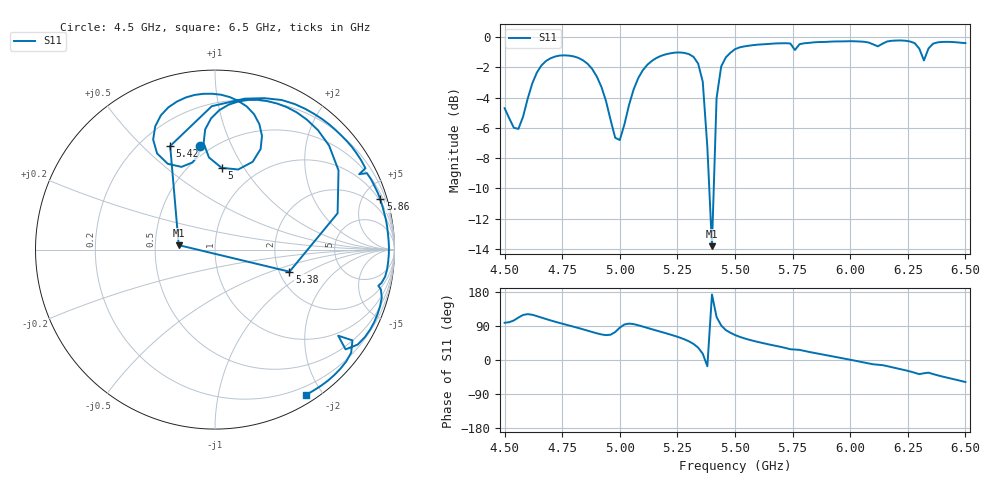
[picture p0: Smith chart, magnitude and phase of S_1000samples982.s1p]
! TOUCHSTONE file generated by CST MICROWAVE STUDIO
! Date and time: Sun Oct 30 00:02:54 2022
! Project name: L.cst
! Parameters = {Di=1.27; Epsilon_r=1.56; InnerDiameter=1.27; Length=2; Lf=10; Lg=60; OuterConductorThickness=0.2921; OuterDiameter=3.6; Wf=3; Wp=41.2; de=1.5; df=6.8; g=0.8; gx=0.687807; gy=4.00703; h=2.34; hf=1.524; px=14.5671; py=14.4756; w=9.7; wx=13.8793; wy=10.4686}
! Header version: 2018
! Port assignment regex: !\s*Touchstone port\s*([0-9]+)\s*=\s*(CST MWS port|CST DS port)\s*([0-9]+|Zmin|Zmax)\s*\(\"(.*)\"\)(\s*mode\s*([0-9]+))?.*
! Touchstone port assignment:
! Touchstone port 1 = CST MWS port 1 ("")
# GHz S DB R 50
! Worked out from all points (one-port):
!   101 points, 4.5 GHz to 6.5 GHz, reference 50 ohm
!   lowest |S11| = -13.8 dB at 5.4 GHz (marker M1), VSWR 1.51, Z = 33.1 + j1.72 ohm
!   |S11| at or under -10 dB: 5.388331 GHz to 5.407804 GHz (19.47 MHz wide, 0.361 % of centre)
!   S11 on the Smith chart (normalised r, x): 4.5 GHz: 0.44, +0.77; 5 GHz: 0.70, +0.80; 5.38 GHz: 2.27, -0.69; 5.42 GHz: 0.32, +0.61; 5.86 GHz: 0.86, +6.63; 6.5 GHz: 0.10, -1.80
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4.5  -4.70 98.2
4.56  -6.07 112.1
4.62  -3.07 119.4
4.68  -1.57 108.1
4.76  -1.21 94.3
4.84  -1.53 81.0
4.92  -3.28 67.5
5  -6.80 85.4
5.04  -4.49 96.1
5.12  -1.82 84.6
5.26  -1.01 59.3
5.3  -1.12 49.2
5.34  -1.75 32.7
5.36  -2.95 16.5
5.38  -7.27 -16.5
5.4  -13.82 173.0
5.42  -4.03 113.4
5.44  -1.95 91.3
5.5  -0.80 66.0
5.62  -0.48 44.8
5.76  -0.85 27.6
5.86  -0.33 16.9
6  -0.27 0.7
6.26  -0.29 -30.2
6.3  -0.77 -37.4
6.32  -1.54 -35.0
6.34  -0.75 -33.4
6.5  -0.40 -58.1
